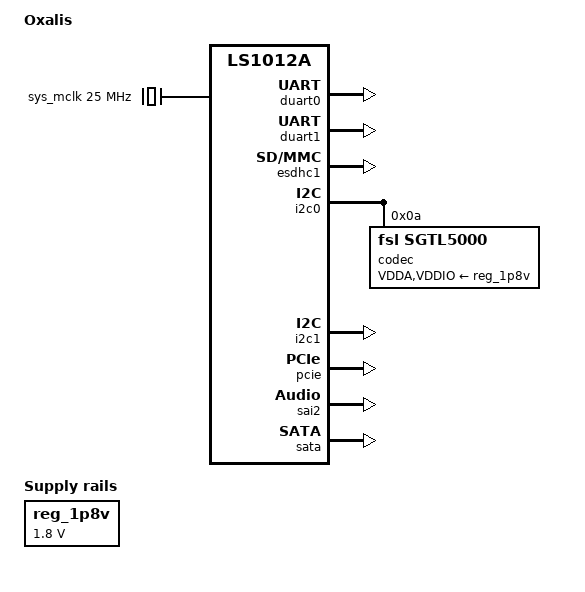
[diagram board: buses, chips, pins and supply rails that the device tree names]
// SPDX-License-Identifier: (GPL-2.0+ OR MIT)
/*
 * Device Tree file for Oxalis
 *
 * Copyright (c) 2019 Manivannan Sadhasivam
 *
 */

/dts-v1/;

#include "fsl-ls1012a.dtsi"

/ {
	model = "Oxalis";
	compatible = "ebs-systart,oxalis", "fsl,ls1012a";

	sys_mclk: clock-mclk {
		compatible = "fixed-clock";
		#clock-cells = <0>;
		clock-frequency = <25000000>;
	};

	reg_1p8v: regulator-1p8v {
		compatible = "regulator-fixed";
		regulator-name = "1P8V";
		regulator-min-microvolt = <1800000>;
		regulator-max-microvolt = <1800000>;
		regulator-always-on;
	};

	sound {
		compatible = "simple-audio-card";
		simple-audio-card,format = "i2s";
		simple-audio-card,widgets =
			"Microphone", "Microphone Jack",
			"Headphone", "Headphone Jack",
			"Speaker", "Speaker Ext",
			"Line", "Line In Jack";
		simple-audio-card,routing =
			"MIC_IN", "Microphone Jack",
			"Microphone Jack", "Mic Bias",
			"LINE_IN", "Line In Jack",
			"Headphone Jack", "HP_OUT",
			"Speaker Ext", "LINE_OUT";

		simple-audio-card,cpu {
			sound-dai = <&sai2>;
			frame-master;
			bitclock-master;
		};

		simple-audio-card,codec {
			sound-dai = <&codec>;
			frame-master;
			bitclock-master;
			system-clock-frequency = <25000000>;
		};
	};
};

&duart0 {
	status = "okay";
};

&duart1 {
	status = "okay";
};

&esdhc1 {
	status = "okay";
};

&i2c0 {
	status = "okay";

	codec: audio-codec@a {
		#sound-dai-cells = <0>;
		compatible = "fsl,sgtl5000";
		reg = <0xa>;
		VDDA-supply = <&reg_1p8v>;
		VDDIO-supply = <&reg_1p8v>;
		clocks = <&sys_mclk>;
	};
};

&i2c1 {
	status = "okay";
};

&pcie {
	status = "okay";
};

&sai2 {
	status = "okay";
};

&sata {
	status = "okay";
};
